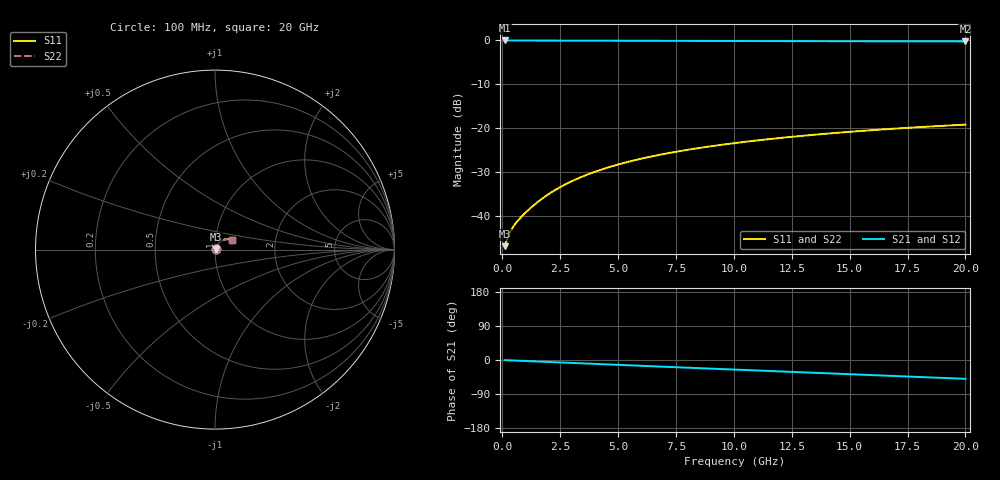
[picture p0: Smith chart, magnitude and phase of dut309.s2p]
! Touchstone file exported from HFSS 2026.1.0
!  File:  C:/ffzhzh/LocalFiles/Ansys_Project_Files/temp_train_BSMRDL_309_1783010622_51716.aedt
!  Generated:  12:44:58 AM Jul  3, 2026
!  Design:  BSMRDL
!  Project:  temp_train_BSMRDL_309_1783010622_51716
! Variables:
!  h_bsmrdl = 4.09um
!  h_ox = 20um
!  h_rdl = 5um
!  h_sub = 80um
!  h_tmrdl = 5um
!  h_tsv = 80um
!  h_via = 3um
!  l_bsmrdl = 889.03um
!  l_sub = 1289.03um
!  l_tmrdl = 200um
!  m_sub = 200um
!  pitch = 25.27um
!  r_tsv = 6um
!  s_tmrdl = 10um
!  w_bsmrdl = 19.06um
!  w_sub = 500um
!  w_tmrdl = 12um
!  x_tsv_center1 = 206um
!  x_tsv_center2 = 1114.09um
!  x_tsv_center3 = 1326.09um
!  x_tsv_center4 = 2234.18um
!  x_tsv_center5 = 2446.18um
!  x_tsv_center6 = 3354.27um
# GHz S MA R 50.000000
! Terminal data exported
! Port[1] = BSM_RDL1_1_T1
! Port[2] = BSM_RDL1_1_T2
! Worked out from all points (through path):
!   200 points, 100 MHz to 20 GHz, reference 50 ohm
!   highest |S21| = -0.04 dB at 100 MHz (marker M1); lowest = -0.3 dB at 20 GHz (marker M2)
!   group delay of S21, straight-line fit = 6.87 ps
!   lowest |S11| = -47.0 dB at 100 MHz (marker M3), VSWR 1.01, Z = 50.4 + j0.14 ohm
!   |S11| at or under -10 dB: start of sweep to end of sweep
!   |S22| runs from -47.0 to -19.2 dB; largest |S21 - S12| = 2.1e-15
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0.1  0.004493 18.0  0.9957 -0.3  0.9957 -0.3  0.004493 18.0
! Gamma 0 0 0 0
! Port Impedance 50 0 50 0
0.2  0.005343 28.7  0.9953 -0.6  0.9953 -0.6  0.005343 28.7
0.3  0.006219 34.2  0.9949 -0.8  0.9949 -0.8  0.006218 34.2
0.4  0.006995 37.7  0.9945 -1.1  0.9945 -1.1  0.006993 37.7
0.5  0.007686 40.4  0.9943 -1.4  0.9943 -1.4  0.007683 40.4
0.6  0.008327 42.8  0.9941 -1.6  0.9941 -1.6  0.008323 42.8
0.8  0.009563 47.1  0.9938 -2.1  0.9938 -2.1  0.009558 47.1
1.2  0.01211 53.6  0.9934 -3.1  0.9934 -3.1  0.0121 53.6
1.7  0.0155 58.5  0.9929 -4.4  0.9929 -4.4  0.0155 58.5
2.2  0.01903 61.1  0.9924 -5.7  0.9924 -5.7  0.01902 61.1
2.8  0.0233 62.4  0.9917 -7.3  0.9917 -7.3  0.0233 62.4
3.5  0.02823 62.6  0.9908 -9.0  0.9908 -9.0  0.02823 62.6
4.2  0.03304 62.0  0.9897 -10.8  0.9897 -10.8  0.03303 62.1
5  0.03834 60.9  0.9885 -12.8  0.9885 -12.8  0.03834 60.9
5.9  0.04405 59.2  0.9871 -15.1  0.9871 -15.1  0.04405 59.3
6.8  0.0495 57.4  0.9857 -17.3  0.9857 -17.3  0.04949 57.5
8.3  0.05806 54.3  0.9836 -21.1  0.9836 -21.1  0.05805 54.4
10.1  0.06761 50.5  0.9812 -25.5  0.9812 -25.5  0.0676 50.6
11.7  0.07555 47.1  0.9792 -29.4  0.9792 -29.4  0.07554 47.3
13.4  0.08347 43.5  0.9773 -33.6  0.9773 -33.6  0.08347 43.6
16.7  0.09739 36.4  0.9739 -41.7  0.9739 -41.7  0.09739 36.6
20  0.1092 29.2  0.9709 -49.7  0.9709 -49.7  0.1092 29.4
